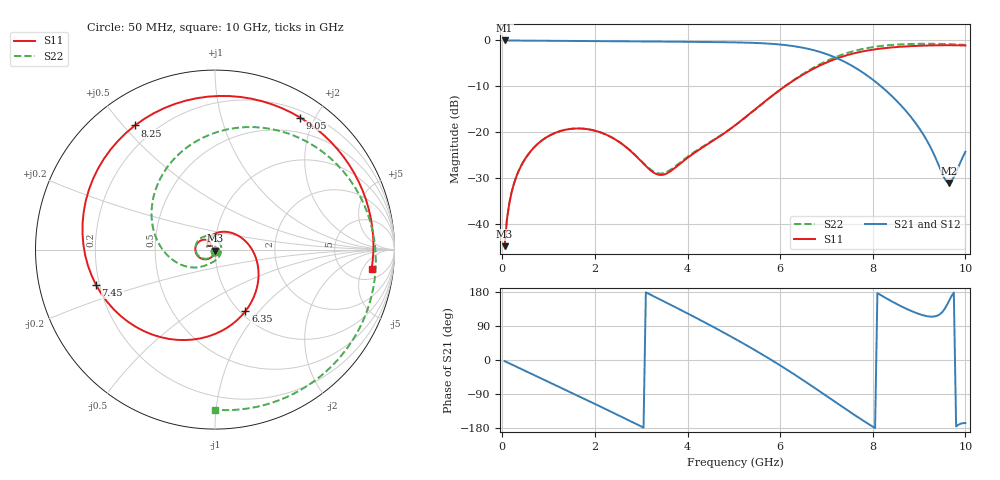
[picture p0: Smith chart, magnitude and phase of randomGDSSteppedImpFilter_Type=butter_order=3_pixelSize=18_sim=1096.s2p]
! freq	dB(S11)	phase(S11)	dB(S12)	phase(S12)
!  dB(S21)	phase(S21)	dB(S22)	phase(S22)
!S-par simulation data
#  GHz  S  DB  R 50
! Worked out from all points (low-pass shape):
!   200 points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, 50 MHz to 10 GHz, reference 50 ohm
!   highest |S21| = -0.01 dB at 50 MHz (marker M1); lowest = -31.0 dB at 9.65 GHz (marker M2)
!   |S21| within 3 dB of the highest: start of sweep to 7.01 GHz
!   lowest |S11| = -44.8 dB at 50 MHz (marker M3), VSWR 1.01, Z = 50.1 - j0.569 ohm
!   |S11| at or under -10 dB: start of sweep to 6.105 GHz
!   |S22| runs from -44.8 to -0.7 dB; largest |S21 - S12| = 0
!   S11 on the Smith chart (normalised r, x): 50 MHz: 1.00, -0.01; 6.35 GHz: 1.06, -0.85; 7.45 GHz: 0.19, -0.14; 8.25 GHz: 0.13, +0.54; 9.05 GHz: 0.29, +1.80; 10 GHz: 8, -8
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0.05  -44.82 -82.0  -0.01 -2.9  -0.01 -2.9  -44.83 -82.1
0.1  -39.02 -90.4  -0.02 -5.9  -0.02 -5.9  -39.03 -90.8
0.2  -33.13 -99.4  -0.03 -11.7  -0.03 -11.7  -33.13 -100.2
0.5  -25.70 -118.4  -0.05 -29.0  -0.05 -29.0  -25.70 -120.4
1.15  -20.11 -154.8  -0.12 -66.6  -0.12 -66.6  -20.11 -159.9
1.75  -19.23 172.5  -0.17 -101.4  -0.17 -101.4  -19.23 162.5
2.65  -23.06 130.6  -0.21 -154.3  -0.21 -154.3  -23.02 97.9
3.4  -29.31 138.3  -0.25 160.2  -0.25 160.2  -29.02 -0.6
4.3  -23.48 123.3  -0.33 103.8  -0.33 103.8  -23.31 -97.8
5.05  -18.33 53.8  -0.43 54.3  -0.43 54.3  -18.34 -128.3
5.75  -12.67 -11.6  -0.70 4.6  -0.70 4.6  -12.72 -163.1
6.35  -8.34 -63.7  -1.35 -41.5  -1.35 -41.5  -8.24 155.3
6.7  -6.28 -94.6  -2.07 -70.0  -2.07 -70.0  -6.06 128.0
7.1  -4.41 -130.9  -3.35 -103.3  -3.35 -103.3  -4.04 95.9
7.45  -3.20 -163.5  -4.97 -132.4  -4.97 -132.4  -2.73 68.3
7.85  -2.27 159.1  -7.45 -164.5  -7.45 -164.5  -1.72 38.4
8.25  -1.69 122.8  -10.63 165.7  -10.63 165.7  -1.13 11.0
8.35  -1.59 114.0  -11.54 158.8  -11.54 158.8  -1.04 4.6
8.7  -1.32 84.5  -15.18 136.6  -15.18 136.6  -0.82 -16.7
9.05  -1.15 57.2  -19.84 119.3  -19.84 119.3  -0.74 -36.6
9.65  -1.05 15.3  -31.04 156.8  -31.04 156.8  -0.82 -69.5
10  -1.12 -6.9  -24.27 -166.2  -24.27 -166.2  -0.99 -89.8
